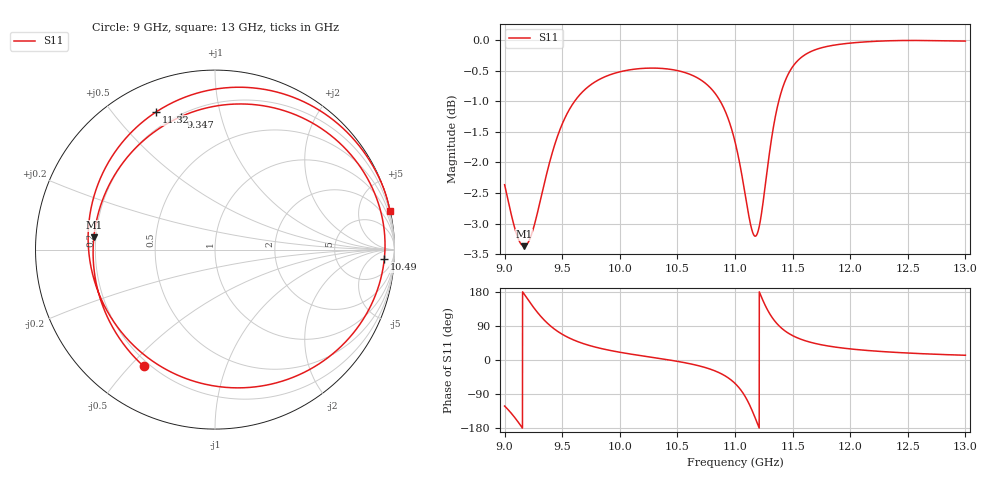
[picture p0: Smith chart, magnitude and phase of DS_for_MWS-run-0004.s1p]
! TOUCHSTONE file generated by CST DESIGN STUDIO
! Date and time: Tue Feb  4 13:04:42 2025
! Project name: C:\Work\MatlabApps\UnitCellOptimizationMatlab\CST\unitcell.cst
! Tree item: Tasks\Sweep1\SPara1\S-Parameters
! Header version: 2024
! Port assignment regex: !\s*Touchstone port\s*([0-9]+)\s*=\s*(CST MWS port|CST DES external port|CST DES block port)\s*(.+)\s* \(\"(.*)\"\)(\s*mode\s*([0-9]+))?.*
! Touchstone port assignment:
! Touchstone port 1 = CST DES external port 1 ("")
# GHz S MA R 50
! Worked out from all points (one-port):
!   4001 points, 9 GHz to 13 GHz, reference 50 ohm
!   lowest |S11| = -3.4 dB at 9.169 GHz (marker M1), VSWR 5.22, Z = 9.6 + j2.44 ohm
!   |S11| at or under -10 dB: nowhere
!   S11 on the Smith chart (normalised r, x): 9 GHz: 0.18, -0.55; 9.347 GHz: 0.21, +0.75; 10.49 GHz: 18, -18; 11.32 GHz: 0.13, +0.65; 13 GHz: 0.06, +9.15
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9  0.7617 -121.5
9.098  0.6967 -155.7
9.169  0.6784 174.2
9.265  0.71 133.3
9.347  0.7651 104.4
9.416  0.8103 85.5
9.5  0.8539 67.9
9.596  0.8881 53.3
9.706  0.9129 41.0
10  0.9422 20.4
10.491  0.9448 -3.1
10.5  0.9445 -3.6
10.819  0.9069 -27.9
10.919  0.8731 -42.8
11  0.8261 -61.7
11.06  0.7752 -83.1
11.107  0.7299 -106.6
11.149  0.6982 -133.6
11.196  0.6957 -168.7
11.249  0.7433 152.7
11.285  0.7903 130.7
11.32  0.834 113.2
11.392  0.9006 87.3
11.5  0.9512 64.4
11.692  0.9819 44.0
12  0.9946 29.3
12.5  0.9996 18.4
13  0.9985 12.5
